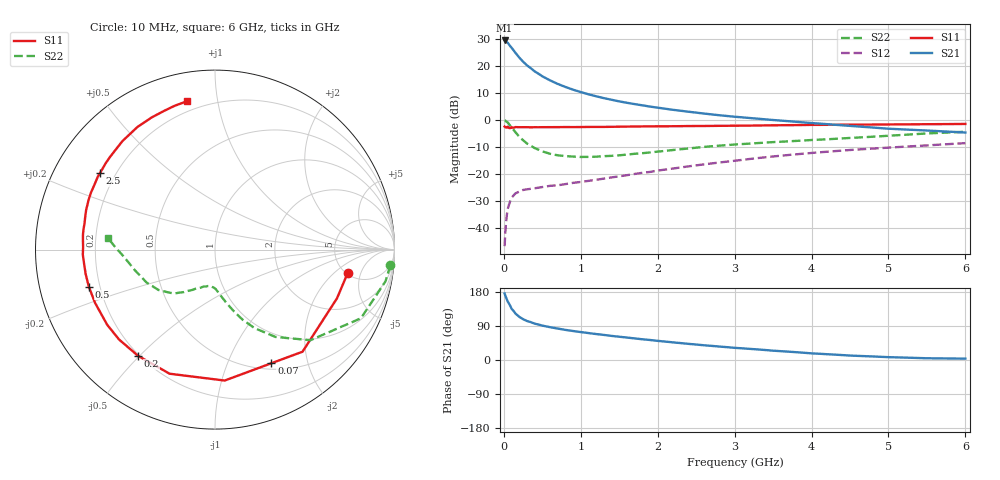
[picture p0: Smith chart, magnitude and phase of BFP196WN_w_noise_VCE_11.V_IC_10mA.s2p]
! Infineon Technologies  Discrete & RF Semiconductors
! BFP196WN
! VCE =  11. V,  IC =  10 mA
! Common Emitter S-Parameters:  Jan 2017
# GHz  S  MA  R  50
!  f  S11  S21  S12  S22
! GHz  MAG  ANG  MAG  ANG  MAG  ANG  MAG  ANG
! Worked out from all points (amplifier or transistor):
!   77 points, 10 MHz to 6 GHz, reference 50 ohm
!   highest |S21| = 29.5 dB at 10 MHz (marker M1)
!   |S21| within 3 dB of that: start of sweep to 108.7 MHz
!   unconditionally stable (mu >= 1): 1.15 GHz to 2.651 GHz
!   at 130 MHz: K = 0.19, MSG = 26.8 dB, |S12| = -28.0 dB
!   at 2.2 GHz: K = 1.06, MAG = 9.5 dB, |S12| = -18.1 dB
!   at 6 GHz: K = 0.86, MSG = 2.0 dB, |S12| = -8.6 dB
!   lowest NFmin = 0.92 dB at 450 MHz
!   S11 on the Smith chart (normalised r, x): 10 MHz: 5.20, -3.06; 70 MHz: 0.57, -1.45; 200 MHz: 0.19, -0.50; 500 MHz: 0.16, -0.14; 2.5 GHz: 0.14, +0.30; 6 GHz: 0.14, +0.82
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0.01  0.7515 -9.8  29.97 175.5  0.0045 80.6  0.9809 -5.1
0.02  0.7318 -21.8  29.02 169.2  0.0085 81.3  0.9665 -10.5
0.05  0.7493 -49.4  27.23 154.4  0.022 65.4  0.8984 -25.2
0.07  0.7068 -63.6  24.84 147.8  0.0273 58.7  0.8227 -31.6
0.1  0.7316 -85.8  22.03 135.4  0.0358 52.6  0.7333 -43.5
0.15  0.7363 -110.1  17.74 122.8  0.043 42.4  0.5919 -55.3
0.2  0.7308 -125.9  14.45 114.0  0.0465 37.5  0.4894 -63.3
0.25  0.7326 -136.9  12.1 107.8  0.0499 35.5  0.4195 -68.5
0.3  0.7323 -145.1  10.36 103.0  0.0513 33.2  0.3648 -72.6
0.4  0.7313 -156.1  7.998 95.9  0.0536 32.9  0.2999 -78.3
0.5  0.7327 -163.7  6.471 90.8  0.0565 33.9  0.2603 -82.7
0.6  0.7334 -169.4  5.438 86.6  0.0595 36.0  0.2349 -86.3
0.7  0.7336 -173.7  4.669 83.0  0.0609 37.9  0.2199 -89.0
0.9  0.735 178.8  3.646 76.5  0.0676 42.4  0.2083 -94.5
1.1  0.7404 173.5  2.994 71.1  0.0736 46.4  0.2054 -99.2
1.5  0.7478 164.7  2.21 61.4  0.0894 52.9  0.2198 -108.7
2.1  0.7613 153.4  1.613 48.6  0.1195 58.5  0.2662 -121.3
2.5  0.7697 146.5  1.366 40.8  0.1429 59.9  0.3044 -128.4
3.1  0.7818 136.9  1.115 30.8  0.181 59.1  0.3559 -138.2
4.1  0.809 121.0  0.854 16.5  0.2496 53.6  0.4295 -156.8
5.1  0.8247 109.2  0.676 7.0  0.3114 46.0  0.5175 -176.7
6  0.8416 100.6  0.582 3.6  0.3702 39.2  0.6021 173.6
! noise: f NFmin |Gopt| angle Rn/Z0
0.45  0.92  0.37  146  0.05
0.9  1.09  0.52  167  0.05
1.9  2.29  0.71  206  0.13
2.4  3.04  0.72  213  0.24
